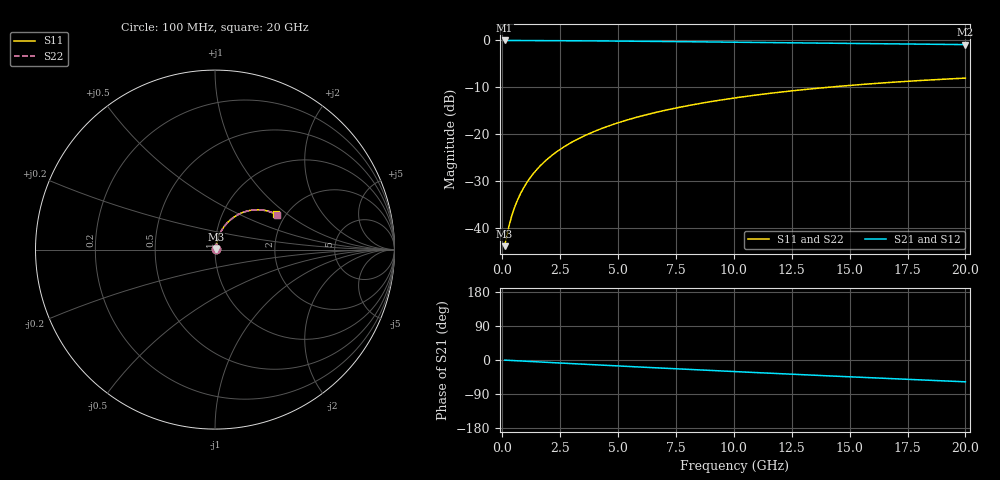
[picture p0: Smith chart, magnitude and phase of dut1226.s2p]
! Touchstone file exported from HFSS 2026.1.0
!  File:  C:/ffzhzh/LocalFiles/Ansys_Project_Files/temp_train_BSMRDL_1226_1783176909_18472.aedt
!  Generated:  10:56:30 PM Jul  4, 2026
!  Design:  BSMRDL
!  Project:  temp_train_BSMRDL_1226_1783176909_18472
! Variables:
!  h_bsmrdl = 5.09um
!  h_ox = 20um
!  h_rdl = 5um
!  h_sub = 80um
!  h_tmrdl = 5um
!  h_tsv = 80um
!  h_via = 3um
!  l_bsmrdl = 975.75um
!  l_sub = 1375.75um
!  l_tmrdl = 200um
!  m_sub = 200um
!  pitch = 26.72um
!  r_tsv = 6um
!  s_tmrdl = 10um
!  w_bsmrdl = 12.23um
!  w_sub = 500um
!  w_tmrdl = 12um
!  x_tsv_center1 = 206um
!  x_tsv_center2 = 1193.98um
!  x_tsv_center3 = 1405.98um
!  x_tsv_center4 = 2393.96um
!  x_tsv_center5 = 2605.96um
!  x_tsv_center6 = 3593.94um
# GHz S MA R 50.000000
! Terminal data exported
! Port[1] = BSM_RDL1_1_T1
! Port[2] = BSM_RDL1_1_T2
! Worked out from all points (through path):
!   200 points, 100 MHz to 20 GHz, reference 50 ohm
!   highest |S21| = -0.05 dB at 100 MHz (marker M1); lowest = -0.9 dB at 20 GHz (marker M2)
!   group delay of S21, straight-line fit = 7.97 ps
!   lowest |S11| = -43.9 dB at 100 MHz (marker M3), VSWR 1.01, Z = 50.6 + j0.306 ohm
!   |S11| at or under -10 dB: start of sweep to 14.16 GHz
!   |S22| runs from -43.9 to -8.1 dB; largest |S21 - S12| = 2.7e-15
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0.1  0.006359 28.4  0.9944 -0.3  0.9944 -0.3  0.006359 28.4
! Gamma 0 0 0 0
! Port Impedance 50 0 50 0
0.3  0.01069 54.9  0.994 -1.0  0.994 -1.0  0.01069 54.9
0.4  0.01316 60.7  0.9938 -1.3  0.9938 -1.3  0.01316 60.7
0.5  0.01568 64.6  0.9936 -1.6  0.9936 -1.6  0.01568 64.6
0.6  0.01825 67.3  0.9934 -2.0  0.9934 -2.0  0.01825 67.3
0.8  0.02345 70.9  0.9931 -2.6  0.9931 -2.6  0.02345 70.9
1  0.02872 73.0  0.9928 -3.2  0.9928 -3.2  0.02872 73.0
1.2  0.03404 74.3  0.9924 -3.9  0.9924 -3.9  0.03404 74.3
1.4  0.03937 75.0  0.9921 -4.5  0.9921 -4.5  0.03937 75.0
1.7  0.04738 75.5  0.9914 -5.5  0.9914 -5.5  0.04738 75.5
2.2  0.06067 75.4  0.9902 -7.0  0.9902 -7.0  0.06068 75.3
2.8  0.07643 74.5  0.9883 -8.9  0.9883 -8.9  0.07644 74.5
3.5  0.09448 73.0  0.9858 -11.1  0.9858 -11.1  0.09448 72.9
4.2  0.1121 71.2  0.983 -13.3  0.983 -13.3  0.1121 71.2
5  0.1317 69.1  0.9794 -15.7  0.9794 -15.7  0.1317 69.1
5.9  0.1531 66.7  0.9751 -18.4  0.9751 -18.4  0.1531 66.6
6.8  0.1737 64.2  0.9706 -21.1  0.9706 -21.1  0.1737 64.2
8.3  0.2066 60.1  0.9627 -25.5  0.9627 -25.5  0.2066 60.1
10.1  0.2435 55.2  0.9526 -30.7  0.9526 -30.7  0.2435 55.2
13.4  0.3038 46.5  0.9337 -40.0  0.9337 -40.0  0.3038 46.4
16.7  0.3541 38.0  0.915 -48.9  0.915 -48.9  0.3542 37.9
20  0.3944 29.7  0.8982 -57.5  0.8982 -57.5  0.3945 29.6
